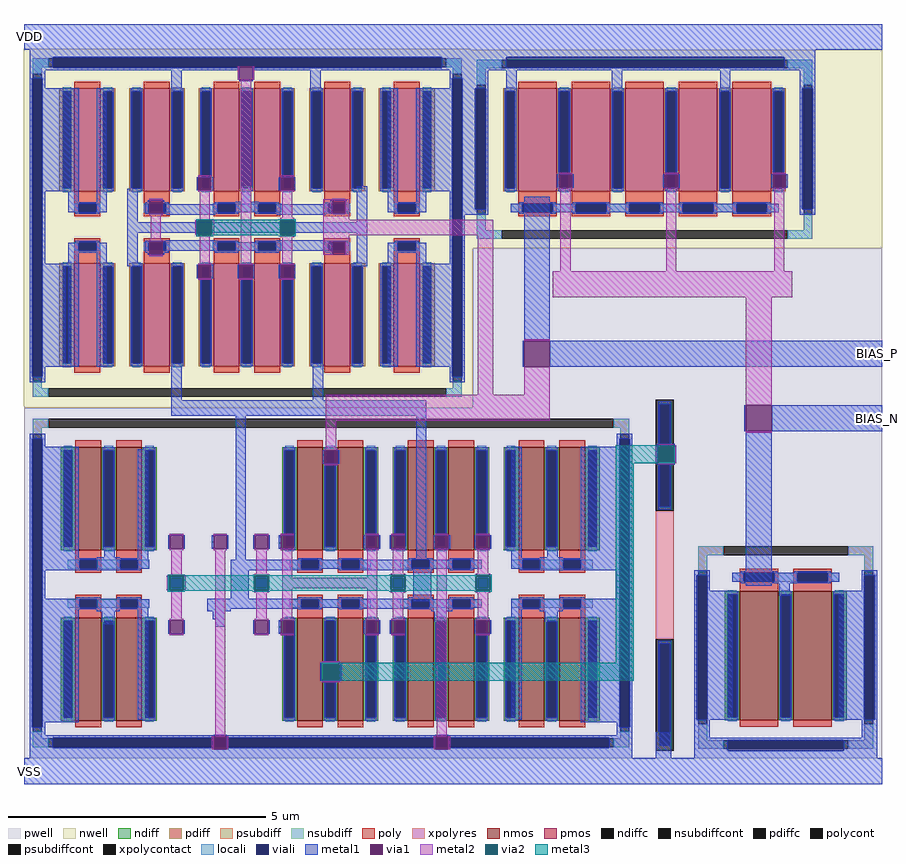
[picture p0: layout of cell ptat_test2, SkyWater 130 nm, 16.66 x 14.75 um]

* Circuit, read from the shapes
.subckt ptat_test2 VDD VSS BIAS_P BIAS_N
XM1 VSS VSS VSS VSS sky130_fd_pr__nfet_01v8 w=2 l=0.5 m=8
XM2 sky130_fd_pr__res_xhigh_po_0p35_S4LC8G_0/R1 sky130_fd_pr__pfet_01v8_3CBY59_2/D sky130_fd_pr__nfet_01v8_KXES5E_2/D0 VSS sky130_fd_pr__nfet_01v8 w=2 l=0.5 m=2
XM3 BIAS_P sky130_fd_pr__pfet_01v8_3CBY59_2/D sky130_fd_pr__nfet_01v8_KXES5E_2/D0 VSS sky130_fd_pr__nfet_01v8 w=2 l=0.5 m=2
XM4 sky130_fd_pr__pfet_01v8_3CBY59_2/D sky130_fd_pr__pfet_01v8_3CBY59_2/D sky130_fd_pr__nfet_01v8_KXES5E_3/D0 VSS sky130_fd_pr__nfet_01v8 w=2 l=0.5 m=2
XM5 VSS sky130_fd_pr__pfet_01v8_3CBY59_2/D sky130_fd_pr__nfet_01v8_KXES5E_3/D0 VSS sky130_fd_pr__nfet_01v8 w=2 l=0.5 m=2
XM6 BIAS_N BIAS_N VSS VSS sky130_fd_pr__nfet_01v8 w=2.5 l=0.75 m=2
XM7 VDD VDD VDD VDD sky130_fd_pr__pfet_01v8 w=2 l=0.5 m=4
XM8 sky130_fd_pr__pfet_01v8_3CBY59_2/D BIAS_P sky130_fd_pr__pfet_01v8_3CBY59_0/D VDD sky130_fd_pr__pfet_01v8 w=2 l=0.5 m=2
XM9 VDD BIAS_P sky130_fd_pr__pfet_01v8_3CBY59_0/D VDD sky130_fd_pr__pfet_01v8 w=2 l=0.5 m=2
XM10 VDD BIAS_P sky130_fd_pr__pfet_01v8_3CTS57_mod1_0/D0 VDD sky130_fd_pr__pfet_01v8 w=2 l=0.5 m=2
XM11 BIAS_P BIAS_P sky130_fd_pr__pfet_01v8_3CTS57_mod1_0/D0 VDD sky130_fd_pr__pfet_01v8 w=2 l=0.5 m=2
XM12 BIAS_N BIAS_P VDD VDD sky130_fd_pr__pfet_01v8 w=2 l=0.75 m=5
XR13 sky130_fd_pr__res_xhigh_po_0p35_S4LC8G_0/R1 VSS VSS sky130_fd_pr__res_xhigh_po w=0.35 l=2.49
.ends

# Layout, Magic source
magic
tech sky130A
magscale 1 2
<< nwell >>
rect -413 1350 1323 1353
rect -413 580 2920 1350
rect -413 -33 1330 580
rect -410 -40 1330 -33
<< pwell >>
rect 1330 -40 2920 580
rect -410 -1400 2920 -40
<< psubdiff >>
rect -377 -117 -317 -83
rect 1877 -117 1937 -83
rect -377 -143 -343 -117
rect -377 -1323 -343 -1297
rect 1903 -143 1937 -117
rect 1903 -1323 1937 -1297
rect -377 -1357 -317 -1323
rect 1877 -1357 1937 -1323
<< nsubdiff >>
rect -377 1283 -317 1317
rect 1227 1283 1287 1317
rect -377 1257 -343 1283
rect -377 37 -343 63
rect 1253 1257 1287 1283
rect 1253 37 1287 63
rect -377 3 -317 37
rect 1227 3 1287 37
<< psubdiffcont >>
rect -317 -117 1877 -83
rect -377 -1297 -343 -143
rect 1903 -1297 1937 -143
rect -317 -1357 1877 -1323
<< nsubdiffcont >>
rect -317 1283 1227 1317
rect -377 63 -343 1257
rect 1253 63 1287 1257
rect -317 3 1227 37
<< locali >>
rect -377 1283 -317 1317
rect 1227 1283 1287 1317
rect -377 1257 -343 1283
rect 1253 1257 1287 1283
rect -377 37 -343 63
rect 1253 37 1287 63
rect -377 3 -317 37
rect 1227 3 1287 37
rect -377 -117 -317 -83
rect 1877 -117 1937 -83
rect -377 -143 -343 -117
rect 1903 -143 1937 -117
rect -377 -1323 -343 -1297
rect 1903 -1323 1937 -1297
rect -377 -1357 -317 -1323
rect 1877 -1357 1937 -1323
<< viali >>
rect -300 1317 1210 1320
rect -300 1283 1210 1317
rect -300 1280 1210 1283
rect 1460 1280 2540 1320
rect -380 80 -377 1240
rect -377 80 -343 1240
rect -343 80 -340 1240
rect 1250 80 1253 1240
rect 1253 80 1287 1240
rect 1287 80 1290 1240
rect 1340 730 1380 1200
rect 2610 730 2650 1200
rect -380 -1280 -377 -160
rect -377 -1280 -343 -160
rect -343 -1280 -340 -160
rect 1900 -1280 1903 -160
rect 1903 -1280 1937 -160
rect 1937 -1280 1940 -160
rect 2200 -1250 2240 -690
rect 2850 -1250 2890 -690
rect -300 -1323 1860 -1320
rect -300 -1357 1860 -1323
rect -300 -1360 1860 -1357
rect 2320 -1370 2770 -1330
<< metal1 >>
rect -410 1350 2920 1450
rect -390 1320 2660 1350
rect -390 1280 -300 1320
rect 1210 1280 1460 1320
rect 2540 1280 2660 1320
rect -390 1270 424 1280
rect -390 1240 -330 1270
rect -390 80 -380 1240
rect -340 1200 -330 1240
rect -340 800 -200 1200
rect -340 520 -330 800
rect -240 720 -200 800
rect -130 720 -90 1200
rect 160 1190 200 1270
rect 476 1270 2660 1280
rect 424 1228 476 1234
rect 700 1190 740 1270
rect 1240 1240 1390 1270
rect 1240 1200 1250 1240
rect -10 680 30 810
rect 258 804 264 856
rect 316 804 322 856
rect 68 714 74 766
rect 126 714 132 766
rect 430 760 470 820
rect 578 804 584 856
rect 636 804 642 856
rect 410 750 500 760
rect 140 710 330 750
rect 430 740 470 750
rect 570 710 760 750
rect 778 714 784 766
rect 836 714 842 766
rect 880 680 920 820
rect 1000 720 1040 1200
rect 1110 800 1250 1200
rect 1110 720 1150 800
rect -10 640 920 680
rect -340 130 -250 520
rect -240 130 -200 600
rect -340 120 -200 130
rect -130 120 -90 600
rect -10 510 30 640
rect 68 554 74 606
rect 126 554 132 606
rect 140 570 330 610
rect 570 570 760 610
rect 778 554 784 606
rect 836 554 842 606
rect 258 464 264 516
rect 316 464 322 516
rect 418 464 424 516
rect 476 464 482 516
rect 578 464 584 516
rect 636 464 642 516
rect 880 510 920 640
rect -340 80 -330 120
rect -390 60 -330 80
rect 160 -10 200 130
rect 710 -10 750 130
rect 1000 120 1040 600
rect 1110 520 1150 600
rect 1240 520 1250 800
rect 1110 120 1250 520
rect 1240 80 1250 120
rect 1290 1200 1390 1240
rect 1290 730 1340 1200
rect 1380 730 1390 1200
rect 1460 1190 1500 1270
rect 1870 1190 1910 1270
rect 2290 1190 2330 1270
rect 2600 1200 2660 1270
rect 1658 814 1664 866
rect 1716 814 1722 866
rect 2069 814 2075 866
rect 2127 814 2133 866
rect 2488 814 2494 866
rect 2546 814 2552 866
rect 1290 710 1390 730
rect 1290 80 1300 710
rect 1530 220 1630 780
rect 2600 730 2610 1200
rect 2650 730 2660 1200
rect 2600 710 2660 730
rect 1524 120 1530 220
rect 1630 120 2920 220
rect 1240 60 1300 80
rect 160 -70 1150 -10
rect -390 -160 -330 -140
rect -390 -1280 -380 -160
rect -340 -190 -330 -160
rect -340 -670 -200 -190
rect -100 -620 -60 -580
rect -130 -670 -40 -620
rect 30 -660 70 -200
rect 148 -586 154 -534
rect 206 -586 212 -534
rect 318 -586 324 -534
rect 376 -586 382 -534
rect 410 -630 450 -70
rect 748 -256 754 -204
rect 806 -256 812 -204
rect 478 -586 484 -534
rect 536 -586 542 -534
rect 578 -586 584 -534
rect 636 -586 642 -534
rect 908 -586 914 -534
rect 966 -586 972 -534
rect 1008 -586 1014 -534
rect 1066 -586 1072 -534
rect 1110 -630 1150 -70
rect 2384 -130 2390 -30
rect 2490 -130 2920 -30
rect 1890 -160 1950 -140
rect 1890 -190 1900 -160
rect 1178 -586 1184 -534
rect 1236 -586 1242 -534
rect 1338 -586 1344 -534
rect 1396 -586 1402 -534
rect 390 -670 660 -630
rect 890 -670 1090 -630
rect 1480 -660 1520 -190
rect 1620 -620 1660 -580
rect -340 -780 -330 -670
rect 390 -780 460 -670
rect -340 -1260 -200 -780
rect -130 -830 -40 -780
rect -110 -870 -60 -830
rect -100 -880 -60 -870
rect 30 -1250 70 -790
rect 300 -820 660 -780
rect 890 -820 1090 -780
rect 1100 -790 1170 -660
rect 1590 -670 1680 -620
rect 1750 -660 1900 -190
rect 1760 -670 1900 -660
rect 1890 -780 1900 -670
rect 300 -830 390 -820
rect 1170 -830 1250 -810
rect 320 -860 370 -830
rect 148 -916 154 -864
rect 206 -916 212 -864
rect 330 -890 370 -860
rect 478 -916 484 -864
rect 536 -916 542 -864
rect 578 -916 584 -864
rect 636 -916 642 -864
rect 908 -916 914 -864
rect 966 -916 972 -864
rect 1008 -916 1014 -864
rect 1066 -916 1072 -864
rect 1180 -870 1230 -830
rect 1338 -916 1344 -864
rect 1396 -916 1402 -864
rect 739 -1100 745 -1030
rect 815 -1100 821 -1030
rect 1480 -1250 1520 -780
rect 1590 -830 1680 -780
rect 1610 -870 1660 -830
rect 1750 -1260 1900 -780
rect -340 -1280 -330 -1260
rect -390 -1310 -330 -1280
rect 1890 -1280 1900 -1260
rect 1940 -1280 1950 -160
rect 2045 -185 2115 -179
rect 2045 -261 2115 -255
rect 324 -1310 376 -1308
rect 1184 -1310 1236 -1308
rect 1890 -1310 1950 -1280
rect 2190 -690 2250 -670
rect 2190 -1250 2200 -690
rect 2240 -750 2250 -690
rect 2390 -730 2490 -130
rect 2510 -720 2580 -680
rect 2840 -690 2900 -670
rect 2240 -1250 2340 -750
rect 2520 -770 2560 -720
rect 2840 -750 2850 -690
rect 2750 -1250 2850 -750
rect 2890 -1250 2900 -690
rect -390 -1314 1950 -1310
rect -390 -1320 324 -1314
rect 376 -1320 1184 -1314
rect 1236 -1320 1950 -1314
rect -390 -1360 -300 -1320
rect 1860 -1360 1950 -1320
rect -390 -1366 324 -1360
rect 376 -1366 1184 -1360
rect 1236 -1366 1950 -1360
rect -390 -1400 1950 -1366
rect 2040 -1400 2100 -1300
rect 2190 -1320 2250 -1250
rect 2840 -1320 2900 -1250
rect 2190 -1330 2900 -1320
rect 2190 -1370 2320 -1330
rect 2770 -1370 2900 -1330
rect 2190 -1400 2900 -1370
rect -410 -1500 2920 -1400
<< via1 >>
rect 424 1280 476 1286
rect 424 1234 476 1280
rect 264 804 316 856
rect 74 714 126 766
rect 584 804 636 856
rect 784 714 836 766
rect 74 554 126 606
rect 784 554 836 606
rect 264 464 316 516
rect 424 464 476 516
rect 584 464 636 516
rect 1664 814 1716 866
rect 2075 814 2127 866
rect 2494 814 2546 866
rect 1530 120 1630 220
rect 154 -586 206 -534
rect 324 -586 376 -534
rect 754 -256 806 -204
rect 484 -586 536 -534
rect 584 -586 636 -534
rect 914 -586 966 -534
rect 1014 -586 1066 -534
rect 2390 -130 2490 -30
rect 1184 -586 1236 -534
rect 1344 -586 1396 -534
rect 154 -916 206 -864
rect 484 -916 536 -864
rect 584 -916 636 -864
rect 914 -916 966 -864
rect 1014 -916 1066 -864
rect 1344 -916 1396 -864
rect 745 -1100 815 -1030
rect 2045 -255 2115 -185
rect 324 -1320 376 -1314
rect 1184 -1320 1236 -1314
rect 324 -1360 376 -1320
rect 1184 -1360 1236 -1320
rect 324 -1366 376 -1360
rect 1184 -1366 1236 -1360
<< metal2 >>
rect 418 1234 424 1286
rect 476 1234 482 1286
rect 264 856 316 862
rect 264 798 316 804
rect 74 766 126 772
rect 74 708 126 714
rect 80 612 120 708
rect 270 688 310 798
rect 253 632 262 688
rect 318 632 327 688
rect 74 606 126 612
rect 74 548 126 554
rect 270 522 310 632
rect 430 522 470 1234
rect 1664 866 1716 872
rect 584 856 636 862
rect 1664 808 1716 814
rect 2075 866 2127 872
rect 2075 808 2127 814
rect 2494 866 2546 872
rect 2494 808 2546 814
rect 584 798 636 804
rect 590 697 630 798
rect 784 770 836 772
rect 750 766 850 770
rect 750 714 784 766
rect 836 714 850 766
rect 582 688 638 697
rect 582 623 638 632
rect 750 690 850 714
rect 750 630 1410 690
rect 590 522 630 623
rect 750 606 850 630
rect 750 554 784 606
rect 836 554 850 606
rect 264 516 316 522
rect 264 458 316 464
rect 424 516 476 522
rect 424 458 476 464
rect 584 516 636 522
rect 584 458 636 464
rect 1350 10 1410 630
rect 1670 490 1710 808
rect 2081 490 2120 808
rect 2500 490 2540 808
rect 1640 390 2570 490
rect 1530 220 1630 226
rect 1530 10 1630 120
rect 760 -90 1630 10
rect 2390 -30 2490 390
rect 760 -198 800 -90
rect 2390 -136 2490 -130
rect 2050 -185 2110 -181
rect 754 -204 806 -198
rect 2039 -255 2045 -185
rect 2115 -255 2121 -185
rect 754 -262 806 -256
rect 2050 -259 2110 -255
rect 154 -534 206 -528
rect 154 -592 206 -586
rect 324 -534 376 -528
rect 324 -592 376 -586
rect 484 -534 536 -528
rect 484 -592 536 -586
rect 584 -534 636 -528
rect 584 -592 636 -586
rect 914 -534 966 -528
rect 914 -592 966 -586
rect 1014 -534 1066 -528
rect 1014 -592 1066 -586
rect 1184 -534 1236 -528
rect 1184 -592 1236 -586
rect 1344 -534 1396 -528
rect 1344 -592 1396 -586
rect 160 -692 200 -592
rect 143 -748 152 -692
rect 208 -748 217 -692
rect 160 -858 200 -748
rect 154 -864 206 -858
rect 154 -922 206 -916
rect 330 -1314 370 -592
rect 490 -683 530 -592
rect 482 -692 538 -683
rect 482 -757 538 -748
rect 590 -700 630 -592
rect 920 -700 960 -592
rect 1020 -683 1060 -592
rect 590 -740 960 -700
rect 490 -858 530 -757
rect 590 -858 630 -740
rect 920 -858 960 -740
rect 1012 -692 1068 -683
rect 1012 -757 1068 -748
rect 1020 -858 1060 -757
rect 484 -864 536 -858
rect 484 -922 536 -916
rect 584 -864 636 -858
rect 584 -922 636 -916
rect 914 -864 966 -858
rect 914 -922 966 -916
rect 1014 -864 1066 -858
rect 1014 -922 1066 -916
rect 745 -1030 815 -1024
rect 745 -1106 815 -1100
rect 1190 -1314 1230 -592
rect 1350 -683 1390 -592
rect 1342 -692 1398 -683
rect 1342 -757 1398 -748
rect 1350 -858 1390 -757
rect 1344 -864 1396 -858
rect 1344 -922 1396 -916
rect 318 -1366 324 -1314
rect 376 -1366 382 -1314
rect 1178 -1366 1184 -1314
rect 1236 -1366 1242 -1314
<< via2 >>
rect 262 632 318 688
rect 582 632 638 688
rect 2050 -250 2110 -190
rect 152 -748 208 -692
rect 482 -748 538 -692
rect 1012 -748 1068 -692
rect 750 -1095 810 -1035
rect 1342 -748 1398 -692
<< metal3 >>
rect 257 690 323 693
rect 577 690 643 693
rect 257 688 643 690
rect 257 632 262 688
rect 318 632 582 688
rect 638 632 643 688
rect 257 630 643 632
rect 257 627 323 630
rect 577 627 643 630
rect 1885 -190 2115 -185
rect 1885 -250 2050 -190
rect 2110 -250 2115 -190
rect 1885 -255 2115 -250
rect 147 -690 213 -687
rect 477 -690 543 -687
rect 1007 -690 1073 -687
rect 1337 -690 1403 -687
rect 147 -692 1403 -690
rect 147 -748 152 -692
rect 208 -748 482 -692
rect 538 -748 1012 -692
rect 1068 -748 1342 -692
rect 1398 -748 1403 -692
rect 147 -750 1403 -748
rect 147 -753 213 -750
rect 477 -753 543 -750
rect 1007 -753 1073 -750
rect 1337 -753 1403 -750
rect 1885 -1030 1955 -255
rect 745 -1035 1955 -1030
rect 745 -1095 750 -1035
rect 810 -1095 1955 -1035
rect 745 -1100 1955 -1095
use sky130_fd_pr__nfet_01v8_44FS3R  sky130_fd_pr__nfet_01v8_44FS3R_0
transform 1 0 2545 0 1 -971
box -375 -429 375 429
use sky130_fd_pr__nfet_01v8_KXES5E  sky130_fd_pr__nfet_01v8_KXES5E_0
transform 1 0 -83 0 1 -423
box -187 -257 187 257
use sky130_fd_pr__nfet_01v8_KXES5E  sky130_fd_pr__nfet_01v8_KXES5E_2
transform 1 0 777 0 1 -423
box -187 -257 187 257
use sky130_fd_pr__nfet_01v8_KXES5E  sky130_fd_pr__nfet_01v8_KXES5E_3
transform 1 0 1207 0 1 -423
box -187 -257 187 257
use sky130_fd_pr__nfet_01v8_KXES5E  sky130_fd_pr__nfet_01v8_KXES5E_4
transform 1 0 1637 0 1 -423
box -187 -257 187 257
use sky130_fd_pr__nfet_01v8_SWJJUK  sky130_fd_pr__nfet_01v8_SWJJUK_0
transform 1 0 -83 0 1 -1023
box -187 -257 187 257
use sky130_fd_pr__nfet_01v8_SWJJUK  sky130_fd_pr__nfet_01v8_SWJJUK_2
transform 1 0 777 0 1 -1023
box -187 -257 187 257
use sky130_fd_pr__nfet_01v8_SWJJUK  sky130_fd_pr__nfet_01v8_SWJJUK_3
transform 1 0 1207 0 1 -1023
box -187 -257 187 257
use sky130_fd_pr__nfet_01v8_SWJJUK  sky130_fd_pr__nfet_01v8_SWJJUK_4
transform 1 0 1637 0 1 -1023
box -187 -257 187 257
use sky130_fd_pr__pfet_01v8_3CBY59  sky130_fd_pr__pfet_01v8_3CBY59_0
transform 1 0 104 0 1 358
box -144 -298 144 264
use sky130_fd_pr__pfet_01v8_3CBY59  sky130_fd_pr__pfet_01v8_3CBY59_1
transform 1 0 -166 0 1 358
box -144 -298 144 264
use sky130_fd_pr__pfet_01v8_3CBY59  sky130_fd_pr__pfet_01v8_3CBY59_2
transform 1 0 804 0 1 358
box -144 -298 144 264
use sky130_fd_pr__pfet_01v8_3CBY59  sky130_fd_pr__pfet_01v8_3CBY59_3
transform 1 0 1074 0 1 358
box -144 -298 144 264
use sky130_fd_pr__pfet_01v8_3CTS57_mod1  sky130_fd_pr__pfet_01v8_3CTS57_mod1_0
transform 1 0 453 0 1 358
box -223 -298 223 264
use sky130_fd_pr__pfet_01v8_57LS5R  sky130_fd_pr__pfet_01v8_57LS5R_0
transform 1 0 1997 0 1 964
box -687 -384 687 384
use sky130_fd_pr__pfet_01v8_LBPW5X_mod1  sky130_fd_pr__pfet_01v8_LBPW5X_mod1_0
transform 1 0 453 0 1 964
box -223 -264 223 298
use sky130_fd_pr__pfet_01v8_PB76X2  sky130_fd_pr__pfet_01v8_PB76X2_0
transform 1 0 104 0 1 964
box -144 -264 144 298
use sky130_fd_pr__pfet_01v8_PB76X2  sky130_fd_pr__pfet_01v8_PB76X2_1
transform 1 0 -166 0 1 964
box -144 -264 144 298
use sky130_fd_pr__pfet_01v8_PB76X2  sky130_fd_pr__pfet_01v8_PB76X2_2
transform 1 0 804 0 1 964
box -144 -264 144 298
use sky130_fd_pr__pfet_01v8_PB76X2  sky130_fd_pr__pfet_01v8_PB76X2_3
transform 1 0 1074 0 1 964
box -144 -264 144 298
use sky130_fd_pr__res_xhigh_po_0p35_S4LC8G  sky130_fd_pr__res_xhigh_po_0p35_S4LC8G_0
transform 1 0 2075 0 1 -689
box -35 -681 35 681
<< labels >>
flabel metal1 -410 1380 -370 1420 0 FreeSans 240 0 0 0 VDD
port 1 nsew
flabel metal1 -410 -1470 -370 -1430 0 FreeSans 240 0 0 0 VSS
port 2 nsew
flabel metal1 2880 150 2920 190 0 FreeSans 240 0 0 0 BIAS_P
port 3 nsew
flabel metal1 2880 -100 2920 -60 0 FreeSans 240 0 0 0 BIAS_N
port 4 nsew
<< end >>

# cell sky130_fd_pr__nfet_01v8_44FS3R: kit device sky130_fd_pr__nfet_01v8, w 2.5 l 0.75 m 1 nf 2 diffcov 100 polycov 100 guard 1 glc 1 grc 1 gtc 1 gbc 1 tbcov 100 rlcov 100 topc 1 botc 0 poverlap 0 doverlap 1 lmin 0.15 wmin 0.42 class mosfet compatible {sky130_fd_pr__nfet_01v8 sky130_fd_pr__nfet_01v8_lvt sky130_fd_bs_flash__special_sonosfet_star sky130_fd_pr__nfet_g5v0d10v5 sky130_fd_pr__nfet_05v0_nvt sky130_fd_pr__nfet_03v3_nvt} full_metal 1 conn_gates 1 viasrc 100 viadrn 100 viagate 100 viagb 0 viagr 0 viagl 0 viagt 0 doports 1

# cell sky130_fd_pr__nfet_01v8_KXES5E: kit device sky130_fd_pr__nfet_01v8, w 2 l 0.5 m 1 nf 2 diffcov 100 polycov 100 guard 0 glc 1 grc 1 gtc 1 gbc 1 tbcov 100 rlcov 100 topc 0 botc 1 poverlap 0 doverlap 1 lmin 0.15 wmin 0.42 class mosfet compatible {sky130_fd_pr__nfet_01v8 sky130_fd_pr__nfet_01v8_lvt sky130_fd_bs_flash__special_sonosfet_star sky130_fd_pr__nfet_g5v0d10v5 sky130_fd_pr__nfet_05v0_nvt sky130_fd_pr__nfet_03v3_nvt} full_metal 1 conn_gates 1 viasrc 100 viadrn 100 viagate 100 viagb 0 viagr 0 viagl 0 viagt 0 doports 1

# cell sky130_fd_pr__nfet_01v8_SWJJUK: kit device sky130_fd_pr__nfet_01v8, w 2 l 0.5 m 1 nf 2 diffcov 100 polycov 100 guard 0 glc 1 grc 1 gtc 1 gbc 1 tbcov 100 rlcov 100 topc 1 botc 0 poverlap 0 doverlap 1 lmin 0.15 wmin 0.42 class mosfet compatible {sky130_fd_pr__nfet_01v8 sky130_fd_pr__nfet_01v8_lvt sky130_fd_bs_flash__special_sonosfet_star sky130_fd_pr__nfet_g5v0d10v5 sky130_fd_pr__nfet_05v0_nvt sky130_fd_pr__nfet_03v3_nvt} full_metal 1 conn_gates 1 viasrc 100 viadrn 100 viagate 100 viagb 0 viagr 0 viagl 0 viagt 0 doports 1

# cell sky130_fd_pr__pfet_01v8_3CBY59: kit device sky130_fd_pr__pfet_01v8, w 2 l 0.5 m 1 nf 1 diffcov 100 polycov 100 guard 0 glc 1 grc 1 gtc 1 gbc 1 tbcov 100 rlcov 100 topc 1 botc 0 poverlap 0 doverlap 1 lmin 0.15 wmin 0.42 class mosfet compatible {sky130_fd_pr__pfet_01v8 sky130_fd_pr__pfet_01v8_lvt sky130_fd_pr__pfet_01v8_hvt sky130_fd_pr__pfet_g5v0d10v5} full_metal 1 conn_gates 0 viasrc 100 viadrn 100 viagate 100 viagb 0 viagr 0 viagl 0 viagt 0 doports 1

# cell sky130_fd_pr__pfet_01v8_3CTS57_mod1: kit device sky130_fd_pr__pfet_01v8, w 2 l 0.5 m 1 nf 2 diffcov 100 polycov 100 guard 0 glc 1 grc 1 gtc 1 gbc 1 tbcov 100 rlcov 100 topc 1 botc 0 poverlap 0 doverlap 1 lmin 0.15 wmin 0.42 class mosfet compatible {sky130_fd_pr__pfet_01v8 sky130_fd_pr__pfet_01v8_lvt sky130_fd_pr__pfet_01v8_hvt sky130_fd_pr__pfet_g5v0d10v5} full_metal 1 conn_gates 1 viasrc 100 viadrn 100 viagate 100 viagb 0 viagr 0 viagl 0 viagt 0 doports 1

# cell sky130_fd_pr__pfet_01v8_57LS5R: kit device sky130_fd_pr__pfet_01v8, w 2 l 0.75 m 1 nf 5 diffcov 100 polycov 100 guard 1 glc 1 grc 1 gtc 1 gbc 1 tbcov 100 rlcov 100 topc 0 botc 1 poverlap 0 doverlap 1 lmin 0.15 wmin 0.42 class mosfet compatible {sky130_fd_pr__pfet_01v8 sky130_fd_pr__pfet_01v8_lvt sky130_fd_pr__pfet_01v8_hvt sky130_fd_pr__pfet_g5v0d10v5} full_metal 1 conn_gates 1 viasrc 100 viadrn 100 viagate 100 viagb 0 viagr 0 viagl 0 viagt 0 doports 1

# cell sky130_fd_pr__pfet_01v8_LBPW5X_mod1: kit device sky130_fd_pr__pfet_01v8, w 2 l 0.5 m 1 nf 2 diffcov 100 polycov 100 guard 0 glc 1 grc 1 gtc 1 gbc 1 tbcov 100 rlcov 100 topc 0 botc 1 poverlap 0 doverlap 1 lmin 0.15 wmin 0.42 class mosfet compatible {sky130_fd_pr__pfet_01v8 sky130_fd_pr__pfet_01v8_lvt sky130_fd_pr__pfet_01v8_hvt sky130_fd_pr__pfet_g5v0d10v5} full_metal 1 conn_gates 1 viasrc 100 viadrn 100 viagate 100 viagb 0 viagr 0 viagl 0 viagt 0 doports 1

# cell sky130_fd_pr__pfet_01v8_PB76X2: kit device sky130_fd_pr__pfet_01v8, w 2 l 0.5 m 1 nf 1 diffcov 100 polycov 100 guard 0 glc 1 grc 1 gtc 1 gbc 1 tbcov 100 rlcov 100 topc 0 botc 1 poverlap 0 doverlap 1 lmin 0.15 wmin 0.42 class mosfet compatible {sky130_fd_pr__pfet_01v8 sky130_fd_pr__pfet_01v8_lvt sky130_fd_pr__pfet_01v8_hvt sky130_fd_pr__pfet_g5v0d10v5} full_metal 1 conn_gates 0 viasrc 100 viadrn 100 viagate 100 viagb 0 viagr 0 viagl 0 viagt 0 doports 1

# cell sky130_fd_pr__res_xhigh_po_0p35_S4LC8G: kit device sky130_fd_pr__res_xhigh_po_0p35, w 0.350 l 2.65 m 1 nx 1 wmin 0.350 lmin 0.50 class resistor rho 2000 val 16.218k dummy 0 dw 0.0 term 188.2 sterm 0.0 caplen 0 wmax 0.350 guard 0 glc 1 grc 1 gtc 1 gbc 1 compatible {sky130_fd_pr__res_xhigh_po_0p35 sky130_fd_pr__res_xhigh_po_0p69 sky130_fd_pr__res_xhigh_po_1p41 sky130_fd_pr__res_xhigh_po_2p85 sky130_fd_pr__res_xhigh_po_5p73} snake 0 full_metal 1 n_guard 0 hv_guard 0 vias 1 viagb 0 viagt 0 viagl 0 viagr 0 doports 1
